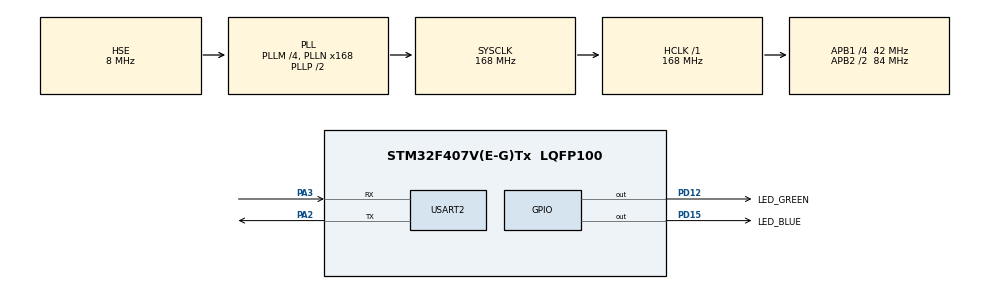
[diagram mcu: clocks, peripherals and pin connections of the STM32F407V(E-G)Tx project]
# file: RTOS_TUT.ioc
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FREERTOS.Tasks01=defaultTask,0,128,StartDefaultTask,Default,NULL,Dynamic,NULL,NULL;Task2,0,128,Task2_init,Default,NULL,Dynamic,NULL,NULL
FREERTOS.configUSE_NEWLIB_REENTRANT=1
Mcu.Family=STM32F4
Mcu.Name=STM32F407V(E-G)Tx
Mcu.Package=LQFP100
NVIC.PriorityGroup=NVIC_PRIORITYGROUP_4
NVIC.TIM1_UP_TIM10_IRQn=true\:15\:0\:false\:false\:true\:false\:false\:true\:true
NVIC.TimeBase=TIM1_UP_TIM10_IRQn
NVIC.TimeBaseIP=TIM1
PA2.Mode=Asynchronous
PA2.Signal=USART2_TX
PA3.Mode=Asynchronous
PA3.Signal=USART2_RX
PD12.GPIO_Label=LED_GREEN
PD12.Signal=GPIO_Output
PD15.GPIO_Label=LED_BLUE
PD15.Signal=GPIO_Output
PH0-OSC_IN.Mode=HSE-External-Oscillator
PH0-OSC_IN.Signal=RCC_OSC_IN
PH1-OSC_OUT.Mode=HSE-External-Oscillator
PH1-OSC_OUT.Signal=RCC_OSC_OUT
ProjectManager.HeapSize=0x200
ProjectManager.StackSize=0x400
ProjectManager.TargetToolchain=STM32CubeIDE
RCC.48MHZClocksFreq_Value=48000000
RCC.AHBFreq_Value=168000000
RCC.APB1CLKDivider=RCC_HCLK_DIV4
RCC.APB1Freq_Value=42000000
RCC.APB1TimFreq_Value=84000000
RCC.APB2CLKDivider=RCC_HCLK_DIV2
RCC.APB2Freq_Value=84000000
RCC.APB2TimFreq_Value=168000000
RCC.CortexFreq_Value=168000000
RCC.HCLKFreq_Value=168000000
RCC.HSE_VALUE=8000000
RCC.HSI_VALUE=16000000
RCC.LSE_VALUE=32768
RCC.PLLM=4
RCC.PLLN=168
RCC.PLLQ=7
RCC.PLLSourceVirtual=RCC_PLLSOURCE_HSE
RCC.SYSCLKFreq_VALUE=168000000
RCC.SYSCLKSource=RCC_SYSCLKSOURCE_PLLCLK
RCC.VCOOutputFreq_Value=336000000
USART2.VirtualMode=VM_ASYNC
VP_FREERTOS_VS_CMSIS_V1.Mode=CMSIS_V1
VP_SYS_VS_tim1.Mode=TIM1
board=STM32F407G-DISC1

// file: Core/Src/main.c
/* USER CODE BEGIN Header */
/**
  ******************************************************************************
  * @file           : main.c
  * @brief          : Main program body
  ******************************************************************************
  * @attention
  *
  * Copyright (c) 2024 STMicroelectronics.
  * All rights reserved.
  *
  * This software is licensed under terms that can be found in the LICENSE file
  * in the root directory of this software component.
  * If no LICENSE file comes with this software, it is provided AS-IS.
  *
  ******************************************************************************
  */
/* USER CODE END Header */
#include "main.h"
#include "cmsis_os.h"

UART_HandleTypeDef huart2;

osThreadId defaultTaskHandle;
osThreadId Task2Handle;
/* USER CODE BEGIN PV */

osThreadId Task3Handle;

/* USER CODE END PV */

void SystemClock_Config(void);
static void MX_GPIO_Init(void);
static void MX_USART2_UART_Init(void);
void StartDefaultTask(void const * argument);
void Task2_init(void const * argument);

/* USER CODE BEGIN PFP */

void Task3_init( void const * argument );

/* USER CODE END PFP */

/* USER CODE BEGIN 0 */

void SendDefTask(void)
{
	uint8_t data[] = "Hello from DefTask\n\r";
	HAL_UART_Transmit(&huart2, data, sizeof(data), 500);
}

void SendTask2(void)
{
	uint8_t data[] = "Hello from Task2\n\r";
	HAL_UART_Transmit(&huart2, data, sizeof(data), 500);
}

void SendTask3(void)
{
	uint8_t data[] = "Hello from Task3\n\r";
	HAL_UART_Transmit(&huart2, data, sizeof(data), 500);
}

/* USER CODE END 0 */

int main(void)
{

  /* MCU Configuration--------------------------------------------------------*/

  /* Reset of all peripherals, Initializes the Flash interface and the Systick. */
  HAL_Init();

  /* Configure the system clock */
  SystemClock_Config();

  /* Initialize all configured peripherals */
  MX_GPIO_Init();
  MX_USART2_UART_Init();

  /* Create the thread(s) */
  /* definition and creation of defaultTask */
  osThreadDef(defaultTask, StartDefaultTask, osPriorityNormal, 0, 128);
  defaultTaskHandle = osThreadCreate(osThread(defaultTask), NULL);

  /* definition and creation of Task2 */
  osThreadDef(Task2, Task2_init, osPriorityAboveNormal, 0, 128);
  Task2Handle = osThreadCreate(osThread(Task2), NULL);

  /* USER CODE BEGIN RTOS_THREADS */
  /* add threads, ... */

  /* definition and creation of Task3 */
  osThreadDef(Task3, Task3_init, osPriorityBelowNormal, 0, 128);
  Task3Handle = osThreadCreate(osThread(Task3), NULL);

  /* USER CODE END RTOS_THREADS */

  /* Start scheduler */
  osKernelStart();

  /* We should never get here as control is now taken by the scheduler */

  /* Infinite loop */
  while (1)
  {

  }
}

void SystemClock_Config(void)
{
  RCC_OscInitTypeDef RCC_OscInitStruct = {0};
  RCC_ClkInitTypeDef RCC_ClkInitStruct = {0};

  /** Configure the main internal regulator output voltage
  */
  __HAL_RCC_PWR_CLK_ENABLE();
  __HAL_PWR_VOLTAGESCALING_CONFIG(PWR_REGULATOR_VOLTAGE_SCALE1);

  /** Initializes the RCC Oscillators according to the specified parameters
  * in the RCC_OscInitTypeDef structure.
  */
  RCC_OscInitStruct.OscillatorType = RCC_OSCILLATORTYPE_HSE;
  RCC_OscInitStruct.HSEState = RCC_HSE_ON;
  RCC_OscInitStruct.PLL.PLLState = RCC_PLL_ON;
  RCC_OscInitStruct.PLL.PLLSource = RCC_PLLSOURCE_HSE;
  RCC_OscInitStruct.PLL.PLLM = 4;
  RCC_OscInitStruct.PLL.PLLN = 168;
  RCC_OscInitStruct.PLL.PLLP = RCC_PLLP_DIV2;
  RCC_OscInitStruct.PLL.PLLQ = 7;
  if (HAL_RCC_OscConfig(&RCC_OscInitStruct) != HAL_OK)
  {
    Error_Handler();
  }

  /** Initializes the CPU, AHB and APB buses clocks
  */
  RCC_ClkInitStruct.ClockType = RCC_CLOCKTYPE_HCLK|RCC_CLOCKTYPE_SYSCLK
                              |RCC_CLOCKTYPE_PCLK1|RCC_CLOCKTYPE_PCLK2;
  RCC_ClkInitStruct.SYSCLKSource = RCC_SYSCLKSOURCE_PLLCLK;
  RCC_ClkInitStruct.AHBCLKDivider = RCC_SYSCLK_DIV1;
  RCC_ClkInitStruct.APB1CLKDivider = RCC_HCLK_DIV4;
  RCC_ClkInitStruct.APB2CLKDivider = RCC_HCLK_DIV2;

  if (HAL_RCC_ClockConfig(&RCC_ClkInitStruct, FLASH_LATENCY_5) != HAL_OK)
  {
    Error_Handler();
  }
}

static void MX_USART2_UART_Init(void)
{

  huart2.Instance = USART2;
  huart2.Init.BaudRate = 115200;
  huart2.Init.WordLength = UART_WORDLENGTH_8B;
  huart2.Init.StopBits = UART_STOPBITS_1;
  huart2.Init.Parity = UART_PARITY_NONE;
  huart2.Init.Mode = UART_MODE_TX_RX;
  huart2.Init.HwFlowCtl = UART_HWCONTROL_NONE;
  huart2.Init.OverSampling = UART_OVERSAMPLING_16;
  if (HAL_UART_Init(&huart2) != HAL_OK)
  {
    Error_Handler();
  }

}

static void MX_GPIO_Init(void)
{
  GPIO_InitTypeDef GPIO_InitStruct = {0};

  /* GPIO Ports Clock Enable */
  __HAL_RCC_GPIOH_CLK_ENABLE();
  __HAL_RCC_GPIOA_CLK_ENABLE();
  __HAL_RCC_GPIOD_CLK_ENABLE();

  /*Configure GPIO pin Output Level */
  HAL_GPIO_WritePin(GPIOD, LED_GREEN_Pin|LED_BLUE_Pin, GPIO_PIN_RESET);

  /*Configure GPIO pins : LED_GREEN_Pin LED_BLUE_Pin */
  GPIO_InitStruct.Pin = LED_GREEN_Pin|LED_BLUE_Pin;
  GPIO_InitStruct.Mode = GPIO_MODE_OUTPUT_PP;
  GPIO_InitStruct.Pull = GPIO_NOPULL;
  GPIO_InitStruct.Speed = GPIO_SPEED_FREQ_LOW;
  HAL_GPIO_Init(GPIOD, &GPIO_InitStruct);

}

/* USER CODE BEGIN 4 */

void Task3_init( void const * argument)
{
	while(1)
	{
		SendTask3();

		osDelay(1000);
	}

}

/* USER CODE END 4 */

void StartDefaultTask(void const * argument)
{
  /* USER CODE BEGIN 5 */
  /* Infinite loop */
  for(;;)
  {
	  SendDefTask();

    osDelay(1000);
  }
  /* USER CODE END 5 */
}

void Task2_init(void const * argument)
{
  /* USER CODE BEGIN Task2_init */
  /* Infinite loop */
  for(;;)
  {
	  SendTask2();

    osDelay(1000);
  }
  /* USER CODE END Task2_init */
}

void HAL_TIM_PeriodElapsedCallback(TIM_HandleTypeDef *htim)
{
  if (htim->Instance == TIM1) {
    HAL_IncTick();
  }
}

void Error_Handler(void)
{
  __disable_irq();
  while (1)
  {
  }
}
